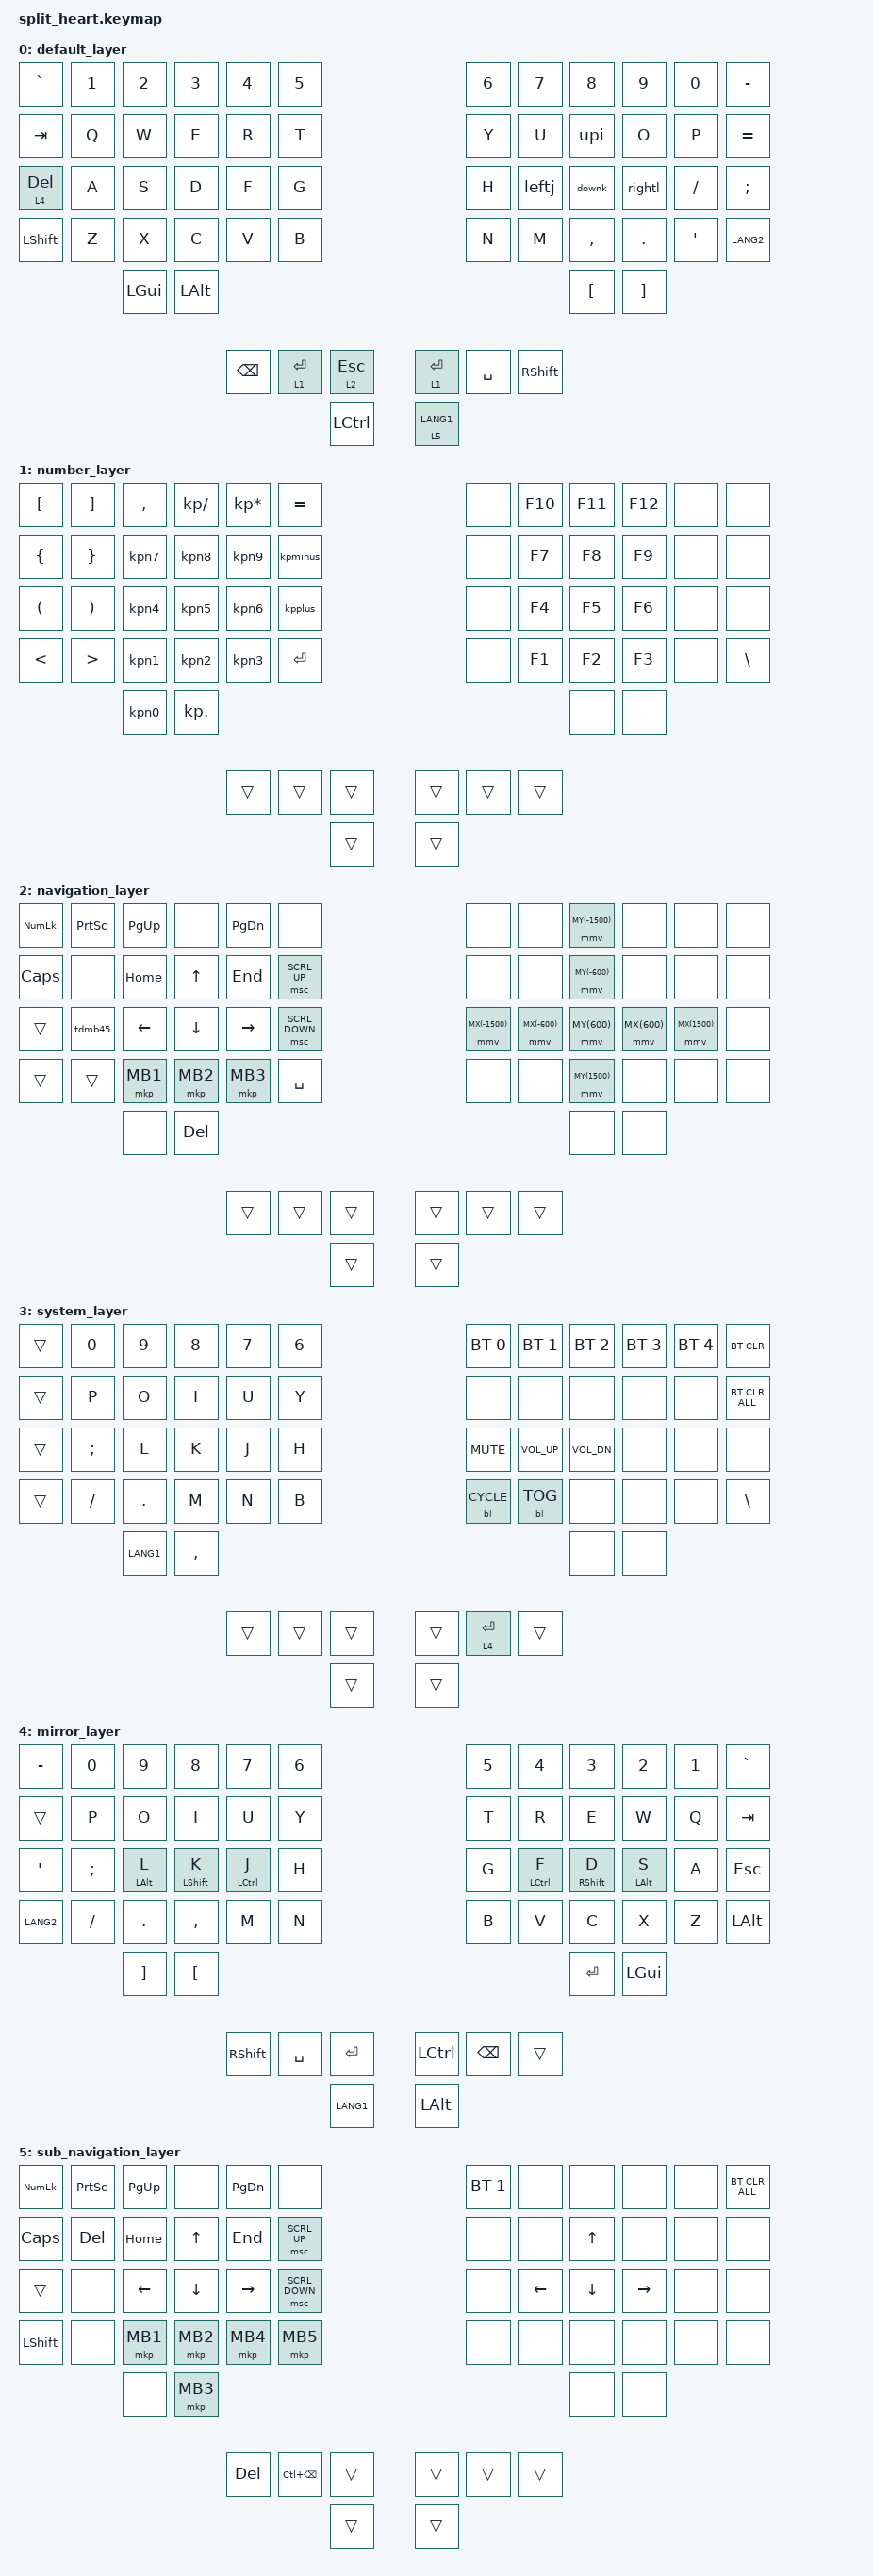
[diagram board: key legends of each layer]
// This file was generated from a template. Edit it to match your keyboard.
// See https://zmk.dev/docs/development/hardware-integration/new-shield for more instructions.

#include <behaviors.dtsi>
#include <dt-bindings/zmk/keys.h>
#include <dt-bindings/zmk/bt.h>
#include <dt-bindings/zmk/pointing.h>

#define ZMK_POINTING_DEFAULT_MOVE_VAL 600  // default: 600
#define ZMK_POINTING_DEFAULT_SCRL_VAL 20    // default: 10

#define KP_MULT KP_MULTIPLY
#define KP_DIV KP_DIVIDE
#define KP_COM KP_COMMA

#define MY(vert) ((vert) & 0xFFFF)
#define MX(hor) (((hor) & 0xFFFF) << 16)

#define KEYS_L 0 1 2 3 4 5      12 13 14 15 16 17   24 25 26 27 28 29   36 37 38 39 40 41
#define KEYS_R 6 7 8 9 10 11    18 19 20 21 22 23   30 31 32 33 34 35   42 43 44 45 46 47
#define THUMBS 48 49   52 53 54 55      50 51   56 57 58 59

&lt {
    tapping-term-ms = <200>; // This is the value already set by default
};

/ {
    chosen {
        zmk,matrix_transform = &default_transform;
    };
};

/ {
    behaviors {

        upi: up_arrow_i {
            compatible = "zmk,behavior-mod-morph";
            #binding-cells = <0>;
            bindings = <&kp I>, <&kp UP>;
            mods = <(MOD_LSFT|MOD_RSFT)>;
        };
        downk: down_arrow_k {
            compatible = "zmk,behavior-mod-morph";
            #binding-cells = <0>;
            bindings = <&kp K>, <&kp DOWN>;
            mods = <(MOD_LSFT|MOD_RSFT)>;
        };
        leftj: left_arrow_j {
            compatible = "zmk,behavior-mod-morph";
            #binding-cells = <0>;
            bindings = <&kp J>, <&kp LEFT>;
            mods = <(MOD_LSFT|MOD_RSFT)>;
        };
        rightl: right_arrow_l {
            compatible = "zmk,behavior-mod-morph";
            #binding-cells = <0>;
            bindings = <&kp L>, <&kp RIGHT>;
            mods = <(MOD_LSFT|MOD_RSFT)>;
        };

        kpn1: kpn1_shiftn1 {
            compatible = "zmk,behavior-mod-morph";
            #binding-cells = <0>;
            bindings = <&kp KP_N1>, <&kp EXCL>;
            mods = <(MOD_LSFT|MOD_RSFT)>;
        };
        kpn2: kpn2_shiftn2 {
            compatible = "zmk,behavior-mod-morph";
            #binding-cells = <0>;
            bindings = <&kp KP_N2>, <&kp AT>;
            mods = <(MOD_LSFT|MOD_RSFT)>;
        };
        kpn3: kpn3_shiftn3 {
            compatible = "zmk,behavior-mod-morph";
            #binding-cells = <0>;
            bindings = <&kp KP_N3>, <&kp POUND>;
            mods = <(MOD_LSFT|MOD_RSFT)>;
        };
        kpn4: kpn4_shiftn4 {
            compatible = "zmk,behavior-mod-morph";
            #binding-cells = <0>;
            bindings = <&kp KP_N4>, <&kp DLLR>;
            mods = <(MOD_LSFT|MOD_RSFT)>;
        };
        kpn5: kpn5_shiftn5 {
            compatible = "zmk,behavior-mod-morph";
            #binding-cells = <0>;
            bindings = <&kp KP_N5>, <&kp PRCNT>;
            mods = <(MOD_LSFT|MOD_RSFT)>;
        };
        kpn6: kpn6_shiftn6 {
            compatible = "zmk,behavior-mod-morph";
            #binding-cells = <0>;
            bindings = <&kp KP_N6>, <&kp CARET>;
            mods = <(MOD_LSFT|MOD_RSFT)>;
        };
        kpn7: kpn7_shiftn7 {
            compatible = "zmk,behavior-mod-morph";
            #binding-cells = <0>;
            bindings = <&kp KP_N7>, <&kp AMPS>;
            mods = <(MOD_LSFT|MOD_RSFT)>;
        };
        kpn8: kpn8_shiftn8 {
            compatible = "zmk,behavior-mod-morph";
            #binding-cells = <0>;
            bindings = <&kp KP_N8>, <&kp ASTRK>;
            mods = <(MOD_LSFT|MOD_RSFT)>;
        };
        kpn9: kpn9_shiftn9 {
            compatible = "zmk,behavior-mod-morph";
            #binding-cells = <0>;
            bindings = <&kp KP_N9>, <&kp LPAR>;
            mods = <(MOD_LSFT|MOD_RSFT)>;
        };
        kpn0: kpn0_shiftn0 {
            compatible = "zmk,behavior-mod-morph";
            #binding-cells = <0>;
            bindings = <&kp KP_N0>, <&kp RPAR>;
            mods = <(MOD_LSFT|MOD_RSFT)>;
        };

        kpminus: kpminus_under {
            compatible = "zmk,behavior-mod-morph";
            #binding-cells = <0>;
            bindings = <&kp KP_MINUS>, <&kp UNDERSCORE>;
            mods = <(MOD_LSFT|MOD_RSFT)>;
        };

        kpplus: kpplus_equal {
            compatible = "zmk,behavior-mod-morph";
            #binding-cells = <0>;
            bindings = <&kp KP_PLUS>, <&kp EQUAL>;
            mods = <(MOD_LSFT|MOD_RSFT)>;
        };

        hml: home_row_mod_left {
            compatible = "zmk,behavior-hold-tap";
            #binding-cells = <2>;
            flavor = "balanced";
            require-prior-idle-ms = <150>;
            tapping-term-ms = <280>;
            quick-tap-ms = <175>;
            bindings = <&kp>, <&kp>;
            hold-trigger-key-positions = < KEYS_R THUMBS >; // List of keys on the right side of the keyboard
            hold-trigger-on-release;
        };
        hmr: home_row_mod_right {
            compatible = "zmk,behavior-hold-tap";
            #binding-cells = <2>;
            flavor = "balanced";
            require-prior-idle-ms = <150>;
            tapping-term-ms = <280>;
            quick-tap-ms = <175>;
            bindings = <&kp>, <&kp>;
            hold-trigger-key-positions = < KEYS_L THUMBS >; // List of keys on the left side of the keyboard
            hold-trigger-on-release;
        };
        lmt: layer_mod_tap {
            compatible = "zmk,behavior-hold-tap";
            #binding-cells = <2>;
            flavor = "balanced";
            require-prior-idle-ms = <150>;
            tapping-term-ms = <280>;
            quick-tap-ms = <175>;
            bindings = <&mo>, <&kp>;
            hold-trigger-key-positions = < THUMBS >; 
            hold-trigger-on-release;
        };


        tdshl1: tap_dance_shift_L1 {
            compatible = "zmk,behavior-tap-dance";
            #binding-cells = <0>;
            tapping-term-ms = <180>;
            bindings = <&kp LSHFT>, <&mo 1>;
        };

        tdmb45: tap_dance_mouse_m45 {
            compatible = "zmk,behavior-tap-dance";
            #binding-cells = <0>;
            tapping-term-ms = <180>;
            bindings = <&mkp MB4>, <&mkp MB5>;
        };
    };

    conditional_layers { 
    };

    combos {
        compatible = "zmk,combos";
        combo_lpar {
            timeout-ms = <50>;
            key-positions = <0 1>;
            layers = <1>;
            bindings = <&kp ESC>;
        };
        combo_rpar {
            timeout-ms = <50>;
            key-positions = <0 1>;
            layers = <1>;
            bindings = <&kp ESC>;
        };
        combo_lbrc {
            timeout-ms = <50>;
            key-positions = <0 1>;
            layers = <1>;
            bindings = <&kp ESC>;
        };
        combo_rbrc {
            timeout-ms = <50>;
            key-positions = <0 1>;
            layers = <1>;
            bindings = <&kp ESC>;
        };
        combo_lt {
            timeout-ms = <50>;
            key-positions = <0 1>;
            layers = <1>;
            bindings = <&kp ESC>;
        };
        combo_rt {
            timeout-ms = <50>;
            key-positions = <0 1>;
            layers = <1>;
            bindings = <&kp ESC>;
        };

    };

/* 
0  1  2  3  4  5     6  7  8  9  10 11
12 13 14 15 16 17    18 19 20 21 22 23
24 25 26 27 28 29    30 31 32 33 34 35
36 37 38 39 40 41    42 43 44 45 46 47
      48 49                50 51
      52 53 54 55    56 57 58 59
*/

    keymap {
        compatible = "zmk,keymap";
        default_layer {
            bindings = <
&kp GRAVE     &kp N1        &kp N2        &kp N3        &kp N4        &kp N5          &kp N6         &kp N7         &kp N8         &kp N9         &kp N0         &kp MINUS 
&kp TAB       &kp Q         &kp W         &kp E         &kp R         &kp T           &kp Y          &kp U          &upi           &kp O          &kp P          &kp EQUAL
&lt 4 DEL     &kp A         &kp S         &kp D         &kp F         &kp G           &kp H          &leftj         &downk         &rightl        &kp SLASH      &kp SEMI
&kp LSHIFT    &kp Z         &kp X         &kp C         &kp V         &kp B           &kp N          &kp M          &kp COMMA      &kp DOT        &kp SQT        &kp LANG2
                            &kp LGUI      &kp LALT                                                                  &kp LBKT       &kp RBKT
                            &kp BSPC      &lt 1 ENTER   &lt 2 ESC     &kp LCTRL       &lt 5 LANG1    &lt 1 ENTER    &kp SPACE      &kp RSHFT      
            >;
        };

        number_layer {  // 1
            bindings = <
&kp LBKT      &kp RBKT      &kp COMMA     &kp KP_DIV    &kp KP_MULT   &kp EQUAL       &none          &kp F10        &kp F11        &kp F12        &none          &none
&kp LBRC      &kp RBRC      &kpn7         &kpn8         &kpn9         &kpminus        &none          &kp F7         &kp F8         &kp F9         &none          &none
&kp LPAR      &kp RPAR      &kpn4         &kpn5         &kpn6         &kpplus         &none          &kp F4         &kp F5         &kp F6         &none          &none
&kp LT        &kp GT        &kpn1         &kpn2         &kpn3         &kp ENTER       &none          &kp F1         &kp F2         &kp F3         &none          &kp BSLH
                            &kpn0         &kp KP_DOT                                                                &none          &none
                            &trans        &trans        &trans        &trans          &trans         &trans         &trans         &trans 
            >;
        };


        navigation_layer { // 2
            bindings = <
&kp KP_NUM    &kp PSCRN     &kp PG_UP     &none         &kp PG_DN     &none           &none          &none           &mmv MY(-1500) &none           &none           &none
&kp CAPS      &none         &kp HOME      &kp UP        &kp END       &msc SCRL_UP    &none          &none           &mmv MY(-600)  &none           &none           &none
&trans        &tdmb45       &kp LEFT      &kp DOWN      &kp RIGHT     &msc SCRL_DOWN  &mmv MX(-1500) &mmv MX(-600)   &mmv MY(600)   &mmv MX(600)    &mmv MX(1500)   &none
&trans        &trans        &mkp MB1      &mkp MB2      &mkp MB3      &kp SPACE       &none          &none           &mmv MY(1500)  &none           &none           &none
                            &none         &kp DEL                                                                    &none          &none       
                            &trans        &trans        &trans       &trans         &trans         &trans          &trans         &trans 
            >;
        };

        system_layer { // 3
            bindings = <
&trans       &kp N0         &kp N9        &kp N8        &kp N7        &kp N6          &bt BT_SEL 0   &bt BT_SEL 1   &bt BT_SEL 2 &bt BT_SEL 3 &bt BT_SEL 4  &bt BT_CLR
&trans       &kp P          &kp O         &kp I         &kp U         &kp Y           &none          &none          &none        &none        &none         &bt BT_CLR_ALL
&trans       &kp SEMI       &kp L         &kp K         &kp J         &kp H           &kp C_MUTE     &kp C_VOL_UP   &kp C_VOL_DN &none        &none         &none
&trans       &kp SLASH      &kp DOT       &kp M         &kp N         &kp B           &bl BL_CYCLE   &bl BL_TOG     &none        &none        &none         &kp BSLH
                            &kp LANG1     &kp COMMA                                                                 &none        &none      
                            &trans        &trans        &trans        &trans          &trans         &trans         &lt 4 ENTER  &trans
            >;
        };

        mirror_layer { // 4
            bindings = <
&kp MINUS    &kp N0         &kp N9        &kp N8        &kp N7       &kp N6          &kp N5       &kp N4       &kp N3        &kp N2       &kp N1       &kp GRAVE 
&trans       &kp P          &kp O         &kp I         &kp U        &kp Y           &kp T        &kp R        &kp E         &kp W        &kp Q        &kp TAB
&kp SQT      &kp SEMI       &hml LALT L   &hml LSHIFT K &hml LCTRL J &kp H           &kp G        &hmr LCTRL F &hmr RSHIFT D &hmr LALT S  &kp A        &kp ESC
&kp LANG2    &kp SLASH      &kp DOT       &kp COMMA     &kp M        &kp N           &kp B        &kp V        &kp C         &kp X        &kp Z        &kp LALT
                            &kp RBKT      &kp LBKT                                                             &kp ENTER     &kp LGUI  
                            &kp RSHFT     &kp SPACE     &kp ENTER    &kp LANG1       &kp LALT     &kp LCTRL    &kp BSPC      &trans
            >;             
        };


        sub_navigation_layer { // 5
            bindings = <
&kp KP_NUM    &kp PSCRN     &kp PG_UP     &none         &kp PG_DN     &none           &bt BT_SEL 1   &none           &none          &none           &none           &bt BT_CLR_ALL
&kp CAPS      &kp DEL       &kp HOME      &kp UP        &kp END       &msc SCRL_UP    &none          &none           &kp UP         &none           &none           &none
&trans        &none         &kp LEFT      &kp DOWN      &kp RIGHT     &msc SCRL_DOWN  &none          &kp LEFT        &kp DOWN       &kp RIGHT       &none           &none
&kp LSHFT     &none         &mkp MB1      &mkp MB2      &mkp MB4      &mkp MB5        &none          &none           &none          &none           &none           &none
                            &none         &mkp MB3                                                                   &none          &none       
                            &kp DEL       &kp LC(BSPC)  &trans        &trans          &trans         &trans          &trans         &trans 
            >;
        };


    };
};
